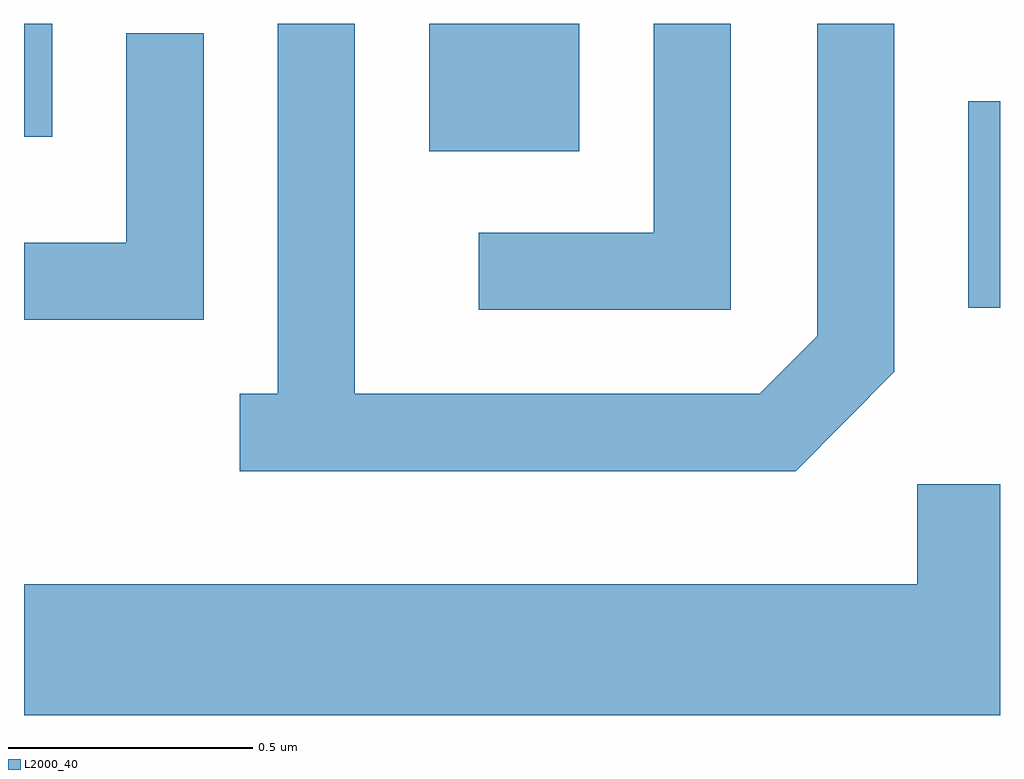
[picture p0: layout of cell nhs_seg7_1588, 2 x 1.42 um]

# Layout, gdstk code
import gdstk
lib = gdstk.Library(unit=1e-6, precision=1e-09)
def R(c, l, rs):  # rectangles x0, y0, x1, y1
    for r in rs: c.add(gdstk.rectangle(r[:2], r[2:], *l))
def P(c, l, *ps):  # polygons
    for p in ps: c.add(gdstk.Polygon(p, *l))
L2000_40 = (2000, 40)

nhs_seg7_1588 = lib.new_cell('nhs_seg7_1588')
R(nhs_seg7_1588, L2000_40, [(198.546,1750.671,198.611,1751.094), (197.441,1750.991,197.749,1751.252), (196.611,1751.021,196.669,1751.252)])
P(nhs_seg7_1588, L2000_40, [(198.394,1750.539),(198.394,1751.252),(198.236,1751.252),(198.236,1750.612),(198.119,1750.494),(197.289,1750.494),(197.289,1751.252),(197.131,1751.252),(197.131,1750.494),(197.053,1750.494),(197.053,1750.336),(198.192,1750.336)],
  [(198.059,1751.252),(197.901,1751.252),(197.901,1750.824),(197.543,1750.824),(197.543,1750.666),(198.059,1750.666)],
  [(196.979,1751.233),(196.821,1751.233),(196.821,1750.804),(196.611,1750.804),(196.611,1750.646),(196.979,1750.646)],
  [(198.611,1750.309),(198.441,1750.309),(198.441,1750.104),(196.611,1750.104),(196.611,1749.836),(198.611,1749.836)])

lib.write_gds('nhs_seg7_1588.gds')
